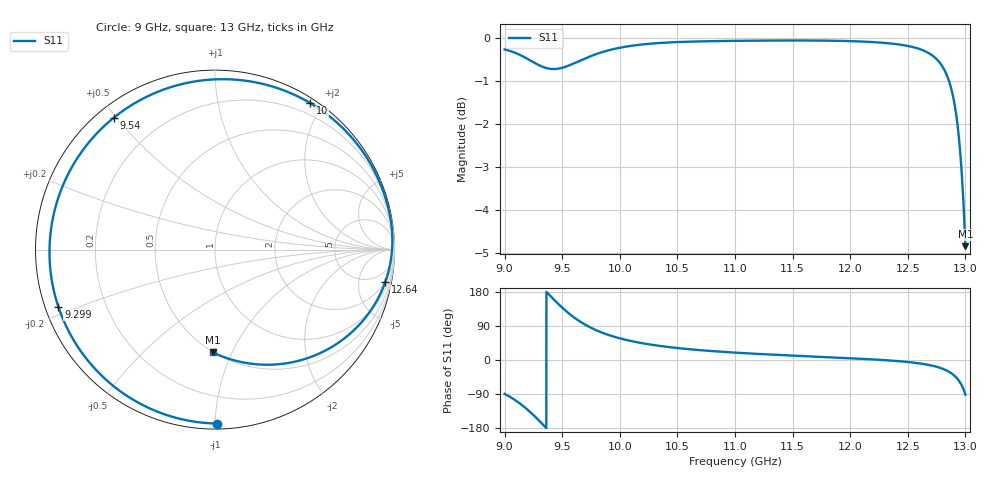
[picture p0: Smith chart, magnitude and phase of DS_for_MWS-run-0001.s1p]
! TOUCHSTONE file generated by CST DESIGN STUDIO
! Date and time: Tue Feb  4 12:50:12 2025
! Project name: C:\Work\MatlabApps\UnitCellOptimizationMatlab\CST\unitcell.cst
! Tree item: Tasks\Sweep1\SPara1\S-Parameters
! Header version: 2024
! Port assignment regex: !\s*Touchstone port\s*([0-9]+)\s*=\s*(CST MWS port|CST DES external port|CST DES block port)\s*(.+)\s* \(\"(.*)\"\)(\s*mode\s*([0-9]+))?.*
! Touchstone port assignment:
! Touchstone port 1 = CST DES external port 1 ("")
# GHz S MA R 50
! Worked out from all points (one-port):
!   4001 points, 9 GHz to 13 GHz, reference 50 ohm
!   lowest |S11| = -4.8 dB at 13 GHz (marker M1), VSWR 3.68, Z = 24.8 - j42.3 ohm
!   |S11| at or under -10 dB: nowhere
!   S11 on the Smith chart (normalised r, x): 9 GHz: 0.03, -1.01; 9.299 GHz: 0.04, -0.18; 9.54 GHz: 0.05, +0.49; 10 GHz: 0.06, +1.84; 12.64 GHz: 2, -10; 13 GHz: 0.50, -0.85
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9  0.9691 -89.3
9.085  0.9612 -104.6
9.158  0.9514 -120.7
9.227  0.9403 -138.7
9.299  0.9291 -159.9
9.347  0.9234 -175.0
9.394  0.9203 170.1
9.443  0.9198 154.8
9.5  0.9227 138.2
9.54  0.9264 127.4
9.62  0.936 108.6
9.712  0.9477 91.1
9.848  0.9622 72.0
10  0.9735 57.2
10.003  0.9737 56.9
10.218  0.9828 43.1
10.5  0.9884 31.6
11  0.9916 19.5
11.5  0.9927 11.7
12  0.9909 4.7
12.5  0.9782 -5.3
12.642  0.9656 -10.9
12.782  0.9336 -20.8
12.872  0.8779 -33.7
12.905  0.8386 -41.5
12.934  0.7876 -50.8
12.967  0.7004 -66.3
13  0.5728 -91.3
